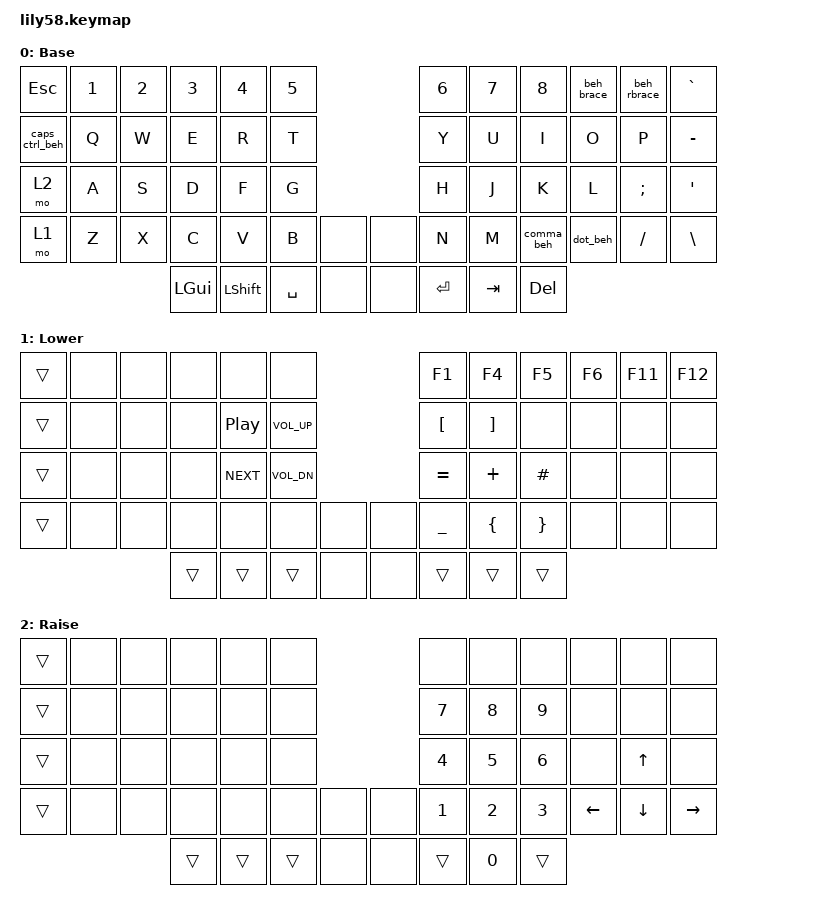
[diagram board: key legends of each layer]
/*
 * Copyright (c) 2020 The ZMK Contributors
 *
 * SPDX-License-Identifier: MIT
 */

#include <behaviors.dtsi>
#include <dt-bindings/zmk/keys.h>

/ {
    combos {
        compatible = "zmk,combos";

        com_eq {
            bindings = <&kp EQUAL>;
            key-positions = <17 16>;
        };

        com_plus {
            bindings = <&kp PLUS>;
            key-positions = <18 19>;
        };

        com_lbrac {
            bindings = <&kp LEFT_BRACKET>;
            key-positions = <29 28>;
        };

        com_rbrack {
            bindings = <&kp RIGHT_BRACKET>;
            key-positions = <30 31>;
        };
    };

    behaviors {
        caps_ctrl_beh: caps_ctrl_beh {
            compatible = "zmk,behavior-tap-dance";
            label = "CAPS_CTRL_BEH";
            #binding-cells = <0>;
            bindings = <&kp LEFT_CONTROL>, <&kp CAPSLOCK>;

            tapping-term-ms = <250>;
        };

        comma_beh: comma_beh {
            compatible = "zmk,behavior-tap-dance";
            label = "COMMA_BEH";
            #binding-cells = <0>;
            tapping-term-ms = <250>;
            bindings = <&kp COMMA>, <&kp LS(COMMA)>;
        };

        dot_beh: dot_beh {
            compatible = "zmk,behavior-tap-dance";
            label = "DOT_BEH";
            #binding-cells = <0>;
            tapping-term-ms = <250>;
            bindings = <&kp PERIOD>, <&kp LS(PERIOD)>;
        };

        beh_brace: beh_brace {
            compatible = "zmk,behavior-tap-dance";
            label = "BEH_BRACE";
            #binding-cells = <0>;
            tapping-term-ms = <250>;
            bindings = <&kp N9>, <&kp LEFT_BRACE>;
        };

        beh_rbrace: beh_rbrace {
            compatible = "zmk,behavior-tap-dance";
            label = "BEH_RBRACE";
            #binding-cells = <0>;
            tapping-term-ms = <250>;
            bindings = <&kp N0>, <&kp RIGHT_BRACE>;
        };
    };

    keymap {
        compatible = "zmk,keymap";

        base_layer {
            // ------------------------------------------------------------------------------------------------------------
            // |  ESC  |  1  |  2  |  3   |  4   |  5   |                   |  6   |  7    |  8    |  9   |   0   |   `   |
            // |  CTRL |  Q  |  W  |  E   |  R   |  T   |                   |  Y   |  U    |  I    |  O   |   P   |   -   |
            // | RAISE |  A  |  S  |  D   |  F   |  G   |                   |  H   |  J    |  K    |  L   |   :   |   '   |
            // | LOWER |  Z  |  X  |  C   |  V   |  B   |  n/a   |  |  n/a  |  N   |  M    |  ,    |  .   |   /   |   \   |
            //                     | GUI  | SHIFT| SPACE|  n/a   |  |  n/a  | ENTER| TAB   | DEL   |
            // Note: Silakka54 has 54 keys - the 4 positions marked n/a are not present (inner thumb + encoder positions)
            // COMBOS: R+T='+'  Y+U='='  F+G='['  H+J=']'  V+B='{'  N+M='}' 

            display-name = "Base";
            bindings = <
&kp ESC         &kp N1  &kp N2  &kp N3    &kp N4          &kp N5                     &kp N6   &kp N7   &kp N8      &beh_brace  &beh_rbrace  &kp GRAVE
&caps_ctrl_beh  &kp Q   &kp W   &kp E     &kp R           &kp T                      &kp Y    &kp U    &kp I       &kp O       &kp P        &kp MINUS
&mo 2           &kp A   &kp S   &kp D     &kp F           &kp G                      &kp H    &kp J    &kp K       &kp L       &kp SEMI     &kp SQT
&mo 1           &kp Z   &kp X   &kp C     &kp V           &kp B      &none    &none  &kp N    &kp M    &comma_beh  &dot_beh    &kp FSLH     &kp BACKSLASH
                                &kp LGUI  &kp LEFT_SHIFT  &kp SPACE  &none    &none  &kp RET  &kp TAB  &kp DEL
            >;
        };

        lower_layer {
            // ------------------------------------------------------------------------------------------------------------
            // |       |     |     |      |      |      |                   |      |       |       |      |       |       |
            // |       |     |     |      | PLAY |VOL_UP|                   |      |  F4   |  F5   |  F6  |  F11  |  F12  |
            // |       |     |     |      | NEXT |VOL_DN|                   |      |       |       |      |       |       |
            // |       |     |     |      |      |      |  n/a   |  |  n/a  |      |       |       |      |       |       |
            //                     |      |      |      |  n/a   |  |  n/a  |      |       |       |

            display-name = "Lower";
            bindings = <
&trans  &none  &none  &none   &none             &none                            &kp F1            &kp F4             &kp F5           &kp F6  &kp F11  &kp F12
&trans  &none  &none  &none   &kp C_PLAY_PAUSE  &kp C_VOLUME_UP                  &kp LEFT_BRACKET  &kp RIGHT_BRACKET  &none            &none   &none    &none
&trans  &none  &none  &none   &kp C_NEXT        &kp C_VOL_DN                     &kp EQUAL         &kp PLUS           &kp HASH         &none   &none    &none
&trans  &none  &none  &none   &none             &none            &none    &none  &kp UNDER         &kp LEFT_BRACE     &kp RIGHT_BRACE  &none   &none    &none
                      &trans  &trans            &trans           &none    &none  &trans            &trans             &trans
            >;
        };

        raise_layer {
            // ------------------------------------------------------------------------------------------------------------
            // |       |     |     |      |      |      |                   |      |       |       |      |       |       |
            // |       |     |     |      |      |      |                   |  7   |   8   |   9   |      |       |       |
            // |       |     |     |      |      |      |                   |  4   |   5   |   6   |      |  UP   |       |
            // |       |     |     |      |      |      |  n/a   |  |  n/a  |  1   |   2   |   3   |  <-  | DOWN  |  ->   |
            //                     |      |      |      |  n/a   |  |  n/a  |      |   0   |       |

            display-name = "Raise";
            bindings = <
&trans  &none  &none  &none   &none   &none                   &none         &none         &none         &none           &none           &none
&trans  &none  &none  &none   &none   &none                   &kp NUMBER_7  &kp NUMBER_8  &kp NUMBER_9  &none           &none           &none
&trans  &none  &none  &none   &none   &none                   &kp NUMBER_4  &kp NUMBER_5  &kp NUMBER_6  &none           &kp UP_ARROW    &none
&trans  &none  &none  &none   &none   &none   &none    &none  &kp NUMBER_1  &kp NUMBER_2  &kp NUMBER_3  &kp LEFT_ARROW  &kp DOWN_ARROW  &kp RIGHT_ARROW
                      &trans  &trans  &trans  &none    &none  &trans        &kp N0        &trans
            >;
        };
    };
};
